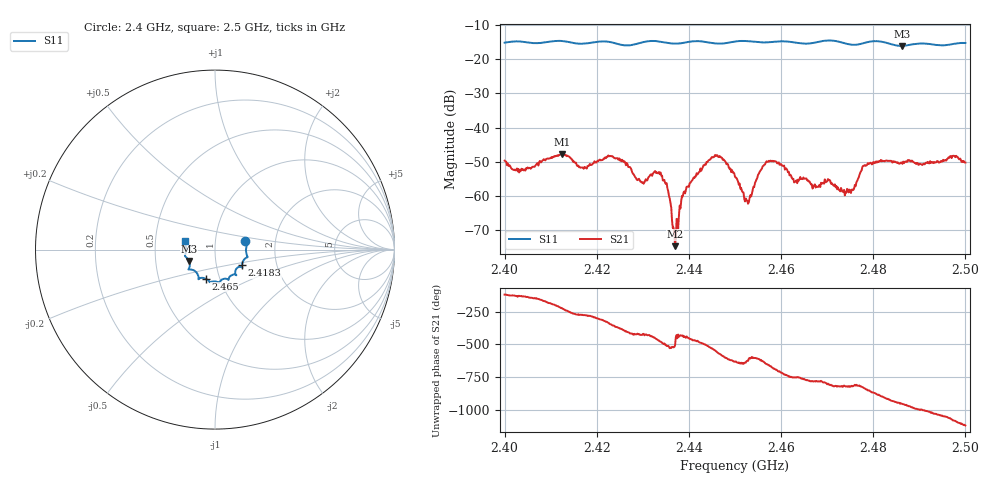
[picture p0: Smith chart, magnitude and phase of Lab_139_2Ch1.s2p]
# Hz S RI R 50
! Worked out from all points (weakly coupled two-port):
!   601 points, 2.4 GHz to 2.5 GHz, reference 50 ohm
!   highest |S21| = -47.80 dB at 2.4125 GHz (marker M1); lowest = -74.7 dB at 2.437 GHz (marker M2)
!   lowest |S11| = -16.1 dB at 2.4862 GHz (marker M3), VSWR 1.37, Z = 37.1 - j4.8 ohm
!   |S11| at or under -10 dB: start of sweep to end of sweep
!   S12 and S22 are empty: the file has one direction only
!   S11 on the Smith chart (normalised r, x): 2.4 GHz: 1.40, +0.13; 2.4183 GHz: 1.33, -0.24; 2.465 GHz: 0.86, -0.29; 2.5 GHz: 0.71, +0.07
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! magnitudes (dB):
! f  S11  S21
! 2.4 GHz  -15.1  -49.7
! 2.4037 GHz  -14.8  -52.1
! 2.4125 GHz  -14.6  -47.8
! 2.4167 GHz  -15.4  -51.7
! 2.4183 GHz  -15.2  -51.1
! 2.423 GHz  -15.0  -48.3
! 2.4298 GHz  -15.0  -56.1
! 2.4333 GHz  -14.7  -53.4
! 2.4352 GHz  -15.1  -56.3
! 2.437 GHz  -15.4  -74.7
! 2.439 GHz  -15.1  -58.7
! 2.4447 GHz  -15.1  -49.2
! 2.45 GHz  -14.8  -54.4
! 2.4525 GHz  -14.6  -61.3
! 2.4572 GHz  -15.0  -50.1
! 2.465 GHz  -15.4  -55.0
! 2.4667 GHz  -15.3  -56.6
! 2.4752 GHz  -15.7  -59.2
! 2.4782 GHz  -15.1  -51.0
! 2.4833 GHz  -15.3  -49.7
! 2.4862 GHz  -16.1  -50.2
! 2.5 GHz  -15.2  -50.2
